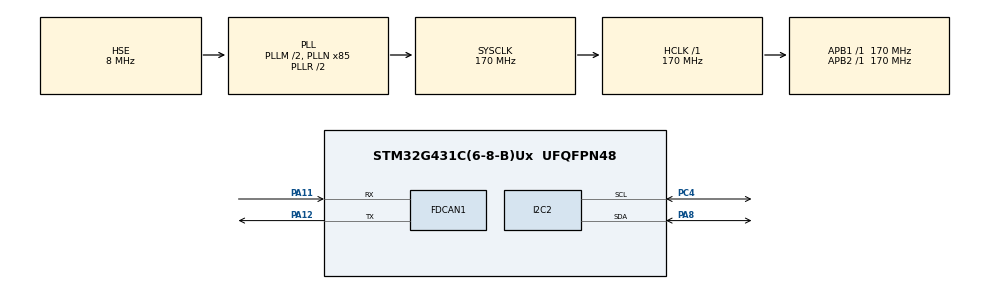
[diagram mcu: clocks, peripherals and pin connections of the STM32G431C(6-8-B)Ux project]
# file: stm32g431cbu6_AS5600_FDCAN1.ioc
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FDCAN1.AutoRetransmission=ENABLE
FDCAN1.CalculateBaudRateNominal=2023809
FDCAN1.CalculateTimeBitNominal=494
FDCAN1.CalculateTimeQuantumNominal=11.764705882352942
FDCAN1.DataPrescaler=2
FDCAN1.DataSyncJumpWidth=10
FDCAN1.DataTimeSeg1=31
FDCAN1.DataTimeSeg2=10
FDCAN1.NominalPrescaler=2
FDCAN1.NominalSyncJumpWidth=10
FDCAN1.NominalTimeSeg1=31
FDCAN1.NominalTimeSeg2=10
FDCAN1.StdFiltersNbr=0x00000000
I2C2.Timing=0x40B285C2
Mcu.Family=STM32G4
Mcu.Name=STM32G431C(6-8-B)Ux
Mcu.Package=UFQFPN48
NVIC.FDCAN1_IT0_IRQn=true\:0\:0\:false\:false\:true\:true\:true\:true
NVIC.FDCAN1_IT1_IRQn=true\:0\:0\:false\:false\:true\:true\:true\:true
NVIC.PriorityGroup=NVIC_PRIORITYGROUP_4
NVIC.TIM3_IRQn=true\:0\:0\:false\:false\:true\:true\:true\:true
PA11.Mode=FDCAN_Activate
PA11.Signal=FDCAN1_RX
PA12.Mode=FDCAN_Activate
PA12.Signal=FDCAN1_TX
PA13.Mode=Serial_Wire
PA13.Signal=SYS_JTMS-SWDIO
PA14.Mode=Serial_Wire
PA14.Signal=SYS_JTCK-SWCLK
PA8.Mode=I2C
PA8.Signal=I2C2_SDA
PC4.Mode=I2C
PC4.Signal=I2C2_SCL
PF0-OSC_IN.Mode=HSE-External-Oscillator
PF0-OSC_IN.Signal=RCC_OSC_IN
PF1-OSC_OUT.Mode=HSE-External-Oscillator
PF1-OSC_OUT.Signal=RCC_OSC_OUT
ProjectManager.HeapSize=0x200
ProjectManager.StackSize=0x400
ProjectManager.TargetToolchain=CMake
RCC.ADC12Freq_Value=170000000
RCC.AHBFreq_Value=170000000
RCC.APB1Freq_Value=170000000
RCC.APB1TimFreq_Value=170000000
RCC.APB2Freq_Value=170000000
RCC.APB2TimFreq_Value=170000000
RCC.CortexFreq_Value=170000000
RCC.EXTERNAL_CLOCK_VALUE=12288000
RCC.HCLKFreq_Value=170000000
RCC.HSE_VALUE=8000000
RCC.HSI48_VALUE=48000000
RCC.HSI_VALUE=16000000
RCC.LSE_VALUE=32768
RCC.PLLM=RCC_PLLM_DIV2
RCC.PLLN=85
RCC.PLLSourceVirtual=RCC_PLLSOURCE_HSE
RCC.SYSCLKFreq_VALUE=170000000
RCC.SYSCLKSource=RCC_SYSCLKSOURCE_PLLCLK
RCC.USBFreq_Value=170000000
RCC.VCOOutputFreq_Value=340000000
TIM3.AutoReloadPreload=TIM_AUTORELOAD_PRELOAD_ENABLE
TIM3.PeriodNoDither=999
TIM3.Prescaler=71
VP_SYS_VS_DBSignals.Mode=DisableDeadBatterySignals
VP_TIM3_VS_ClockSourceINT.Mode=Internal
board=custom

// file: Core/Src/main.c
/* USER CODE BEGIN Header */
/**
  ******************************************************************************
  * @file           : main.c
  * @brief          : Main program body
  ******************************************************************************
  * @attention
  *
  * Copyright (c) 2026 STMicroelectronics.
  * All rights reserved.
  *
  * This software is licensed under terms that can be found in the LICENSE file
  * in the root directory of this software component.
  * If no LICENSE file comes with this software, it is provided AS-IS.
  *
  ******************************************************************************
  */
/* USER CODE END Header */
#include "main.h"
#include "fdcan.h"
#include "i2c.h"
#include "tim.h"
#include "gpio.h"

/* USER CODE BEGIN Includes */

#include "Bsp_AS5600.h"

/* USER CODE END Includes */

/* USER CODE BEGIN PV */

AS5600_FilterHandleTypDef AS5600_FilterData = {
    .Filter_mode = FILTER_MODE_LPF,
    .alpha = 0.2f,
    .window_size = 5,
};

AS5600_Data as5600_Data = {
  .AS5600_FilterData = &AS5600_FilterData,
  .RawAngle = 0,
  .Angle_deg = 0.0f,
  .FinalOutput = 0.0f,
};

/* USER CODE END PV */

void SystemClock_Config(void);

int main(void)
{

  /* MCU Configuration--------------------------------------------------------*/

  /* Reset of all peripherals, Initializes the Flash interface and the Systick. */
  HAL_Init();

  /* Configure the system clock */
  SystemClock_Config();

  /* Initialize all configured peripherals */
  MX_GPIO_Init();
  MX_FDCAN1_Init();
  MX_I2C2_Init();
  MX_TIM3_Init();
  /* USER CODE BEGIN 2 */

  FDCAN_Init();
  AS5600_Init(&as5600_Data,&hi2c2,&hfdcan1,0x201);

  /* USER CODE END 2 */

  /* Infinite loop */
  /* USER CODE BEGIN WHILE */
  while (1)
  {
      AS5600_GetData(&as5600_Data);
    /* USER CODE END WHILE */

  }
}

void SystemClock_Config(void)
{
  RCC_OscInitTypeDef RCC_OscInitStruct = {0};
  RCC_ClkInitTypeDef RCC_ClkInitStruct = {0};

  /** Configure the main internal regulator output voltage
  */
  HAL_PWREx_ControlVoltageScaling(PWR_REGULATOR_VOLTAGE_SCALE1_BOOST);

  /** Initializes the RCC Oscillators according to the specified parameters
  * in the RCC_OscInitTypeDef structure.
  */
  RCC_OscInitStruct.OscillatorType = RCC_OSCILLATORTYPE_HSE;
  RCC_OscInitStruct.HSEState = RCC_HSE_ON;
  RCC_OscInitStruct.PLL.PLLState = RCC_PLL_ON;
  RCC_OscInitStruct.PLL.PLLSource = RCC_PLLSOURCE_HSE;
  RCC_OscInitStruct.PLL.PLLM = RCC_PLLM_DIV2;
  RCC_OscInitStruct.PLL.PLLN = 85;
  RCC_OscInitStruct.PLL.PLLP = RCC_PLLP_DIV2;
  RCC_OscInitStruct.PLL.PLLQ = RCC_PLLQ_DIV2;
  RCC_OscInitStruct.PLL.PLLR = RCC_PLLR_DIV2;
  if (HAL_RCC_OscConfig(&RCC_OscInitStruct) != HAL_OK)
  {
    Error_Handler();
  }

  /** Initializes the CPU, AHB and APB buses clocks
  */
  RCC_ClkInitStruct.ClockType = RCC_CLOCKTYPE_HCLK|RCC_CLOCKTYPE_SYSCLK
                              |RCC_CLOCKTYPE_PCLK1|RCC_CLOCKTYPE_PCLK2;
  RCC_ClkInitStruct.SYSCLKSource = RCC_SYSCLKSOURCE_PLLCLK;
  RCC_ClkInitStruct.AHBCLKDivider = RCC_SYSCLK_DIV1;
  RCC_ClkInitStruct.APB1CLKDivider = RCC_HCLK_DIV1;
  RCC_ClkInitStruct.APB2CLKDivider = RCC_HCLK_DIV1;

  if (HAL_RCC_ClockConfig(&RCC_ClkInitStruct, FLASH_LATENCY_4) != HAL_OK)
  {
    Error_Handler();
  }
}

void Error_Handler(void)
{
  __disable_irq();
  while (1)
  {
  }
}
